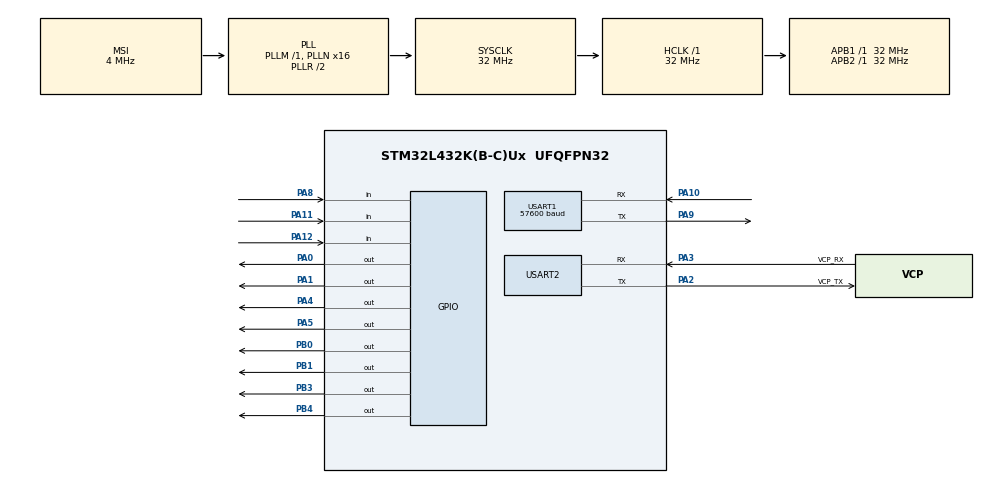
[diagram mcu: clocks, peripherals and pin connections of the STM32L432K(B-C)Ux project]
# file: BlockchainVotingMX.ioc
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Dma.Request0=USART2_RX
Dma.Request1=USART1_RX
Dma.Request2=USART1_TX
Dma.USART1_RX.1.Direction=DMA_PERIPH_TO_MEMORY
Dma.USART1_RX.1.Instance=DMA1_Channel5
Dma.USART1_RX.1.MemDataAlignment=DMA_MDATAALIGN_BYTE
Dma.USART1_RX.1.MemInc=DMA_MINC_ENABLE
Dma.USART1_RX.1.Mode=DMA_NORMAL
Dma.USART1_RX.1.PeriphDataAlignment=DMA_PDATAALIGN_BYTE
Dma.USART1_RX.1.PeriphInc=DMA_PINC_DISABLE
Dma.USART1_RX.1.Priority=DMA_PRIORITY_MEDIUM
Dma.USART1_TX.2.Direction=DMA_MEMORY_TO_PERIPH
Dma.USART1_TX.2.Instance=DMA1_Channel4
Dma.USART1_TX.2.MemDataAlignment=DMA_MDATAALIGN_BYTE
Dma.USART1_TX.2.MemInc=DMA_MINC_ENABLE
Dma.USART1_TX.2.Mode=DMA_NORMAL
Dma.USART1_TX.2.PeriphDataAlignment=DMA_PDATAALIGN_BYTE
Dma.USART1_TX.2.PeriphInc=DMA_PINC_DISABLE
Dma.USART1_TX.2.Priority=DMA_PRIORITY_MEDIUM
Dma.USART2_RX.0.Direction=DMA_PERIPH_TO_MEMORY
Dma.USART2_RX.0.Instance=DMA1_Channel6
Dma.USART2_RX.0.MemDataAlignment=DMA_MDATAALIGN_BYTE
Dma.USART2_RX.0.MemInc=DMA_MINC_ENABLE
Dma.USART2_RX.0.Mode=DMA_CIRCULAR
Dma.USART2_RX.0.PeriphDataAlignment=DMA_PDATAALIGN_BYTE
Dma.USART2_RX.0.PeriphInc=DMA_PINC_DISABLE
Dma.USART2_RX.0.Priority=DMA_PRIORITY_HIGH
Mcu.Family=STM32L4
Mcu.Name=STM32L432K(B-C)Ux
Mcu.Package=UFQFPN32
NVIC.DMA1_Channel4_IRQn=true\:0\:0\:false\:false\:true\:false\:true\:true
NVIC.DMA1_Channel5_IRQn=true\:0\:0\:false\:false\:true\:false\:true\:true
NVIC.DMA1_Channel6_IRQn=true\:0\:0\:false\:false\:true\:false\:true\:true
NVIC.PriorityGroup=NVIC_PRIORITYGROUP_4
NVIC.USART1_IRQn=true\:0\:0\:false\:false\:true\:true\:true\:true
NVIC.USART2_IRQn=true\:0\:0\:false\:false\:true\:true\:true\:true
PA0.Signal=GPIO_Output
PA1.Signal=GPIO_Output
PA10.Mode=Asynchronous
PA10.Signal=USART1_RX
PA11.GPIO_PuPd=GPIO_PULLUP
PA11.Signal=GPIO_Input
PA12.GPIO_PuPd=GPIO_PULLUP
PA12.Signal=GPIO_Input
PA13\ (JTMS-SWDIO).GPIO_Label=SWDIO
PA13\ (JTMS-SWDIO).Mode=Serial_Wire
PA13\ (JTMS-SWDIO).Signal=SYS_JTMS-SWDIO
PA14\ (JTCK-SWCLK).GPIO_Label=SWCLK
PA14\ (JTCK-SWCLK).Mode=Serial_Wire
PA14\ (JTCK-SWCLK).Signal=SYS_JTCK-SWCLK
PA2.GPIO_Label=VCP_TX
PA2.Mode=Asynchronous
PA2.Signal=USART2_TX
PA3.GPIO_Label=VCP_RX
PA3.Mode=Asynchronous
PA3.Signal=USART2_RX
PA4.Signal=GPIO_Output
PA5.Signal=GPIO_Output
PA8.GPIO_PuPd=GPIO_PULLUP
PA8.Signal=GPIO_Input
PA9.Mode=Asynchronous
PA9.Signal=USART1_TX
PB0.Signal=GPIO_Output
PB1.Signal=GPIO_Output
PB3\ (JTDO-TRACESWO).Signal=GPIO_Output
PB4\ (NJTRST).Signal=GPIO_Output
PC14-OSC32_IN\ (PC14).Mode=LSE-External-Oscillator
PC14-OSC32_IN\ (PC14).Signal=RCC_OSC32_IN
PC15-OSC32_OUT\ (PC15).Mode=LSE-External-Oscillator
PC15-OSC32_OUT\ (PC15).Signal=RCC_OSC32_OUT
ProjectManager.HeapSize=0x200
ProjectManager.StackSize=0x2000
ProjectManager.TargetToolchain=STM32CubeIDE
RCC.ADCFreq_Value=32000000
RCC.AHBFreq_Value=32000000
RCC.APB1Freq_Value=32000000
RCC.APB1TimFreq_Value=32000000
RCC.APB2Freq_Value=32000000
RCC.APB2TimFreq_Value=32000000
RCC.CortexFreq_Value=32000000
RCC.HCLKFreq_Value=32000000
RCC.HSE_VALUE=8000000
RCC.HSI16_VALUE=16000000
RCC.HSI48_VALUE=48000000
RCC.HSI_VALUE=16000000
RCC.MSI_VALUE=4000000
RCC.PLLMUL=RCC_PLLMUL_4
RCC.PLLN=16
RCC.PLLSAI1N=16
RCC.SYSCLKFreq_VALUE=32000000
RCC.SYSCLKSource=RCC_SYSCLKSOURCE_PLLCLK
RCC.USBFreq_Value=32000000
RCC.VCOOutputFreq_Value=64000000
USART1.BaudRate=57600
USART1.VirtualMode-Asynchronous=VM_ASYNC
USART2.VirtualMode-Asynchronous=VM_ASYNC
VP_RNG_VS_RNG.Mode=RNG_Activate
board=NUCLEO-L432KC

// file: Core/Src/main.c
/* USER CODE BEGIN Header */
/**
  ******************************************************************************
  * @file           : main.c
  * @brief          : E-VOTING TERMINAL - PRODUCTION READY v3.0
  * @author         : Blockchain Voting Team
  * @date           : December 2025
  * @note           : FULLY INTEGRATED WITH BACKEND + FINGERPRINT MATCHING
  ******************************************************************************
  */
/* USER CODE END Header */
#include "main.h"

/* USER CODE BEGIN Includes */
#include <stdio.h>
#include <stdarg.h>
#include <string.h>
#include <stdbool.h>
#include <ctype.h>
#include "r307.h"
#include "esp32_bridge.h"
#include "keypad.h"
#include "sha256.h"  // ✅ SHA256 for hashing

/* 🔧 WiFi & Backend Configuration */
#define WIFI_SSID       "Redmi Note 10"       // ⚠️ CHANGE THIS!
#define WIFI_PASSWORD   "123456789"               // ⚠️ CHANGE THIS!
#define BACKEND_HOST    "automatic-space-garbanzo-x5wjwqpqqjgqhv4w9-3000.app.github.dev"            // ⚠️ YOUR PC IP!
#define BACKEND_PORT    443
#define TERMINAL_ID     "TERM_001"
#define API_KEY         "voter-secret-key-456"

/* API Endpoints */
#define API_BASE        "/api/v1/terminal"
#define API_ELECTIONS   "/api/v1/terminal/elections"
#define API_VERIFY      "/api/v1/terminal/verify-identity"
#define API_SEND_OTP    "/api/v1/terminal/send-otp"
#define API_VERIFY_OTP  "/api/v1/terminal/verify-otp"
#define API_CAST_VOTE   "/api/v1/terminal/cast-vote"
#define API_GET_RECEIPT "/api/v1/terminal/receipt"
#define API_SEND_EMAIL  "/api/v1/terminal/send-receipt-email"

/* Voting Flow States */
typedef enum {
    STATE_SELECT_ELECTION = 0,
    STATE_ENTER_AADHAAR,
    STATE_ENTER_VOTER_ID,
    STATE_SCAN_FINGERPRINT,
    STATE_VERIFY_IDENTITY,
    STATE_SEND_OTP,
    STATE_ENTER_OTP,
    STATE_VERIFY_OTP,
    STATE_SELECT_CANDIDATE,
    STATE_CONFIRM_VOTE,
    STATE_CAST_VOTE,
    STATE_WAIT_RECEIPT,
    STATE_SHOW_RECEIPT,
    STATE_COMPLETE
} VotingState;

/* Election Structure */
typedef struct {
    char id[32];
    char name[64];
    char description[128];
} Election;

/* Candidate Structure */
typedef struct {
    char id[32];
    char name[64];
    char party[64];
} Candidate;

/* Voting Session */
typedef struct {
    VotingState state;

    // Election Data
    Election elections[10];
    uint8_t election_count;
    uint8_t selected_election_idx;

    // Voter Data
    char aadhaar[13];
    char voter_id[16];
    uint8_t fingerprint_template[512];

    // Backend Response Data
    char voter_name[64];
    char masked_email[64];
    char auth_token[65];
    uint16_t match_score;

    // Candidate Data
    Candidate candidates[5];
    uint8_t candidate_count;
    uint8_t selected_candidate_idx;

    // OTP Data
    char otp[7];

    // Receipt Data
    char transaction_id[128];
    char aadhaar_hash[65];

    // State Control
    bool fingerprint_matched;
    bool otp_verified;
    uint8_t retry_count;
} VotingSession;

/* USER CODE END Includes */

RNG_HandleTypeDef hrng;

UART_HandleTypeDef huart1;
UART_HandleTypeDef huart2;
DMA_HandleTypeDef hdma_usart1_rx;
DMA_HandleTypeDef hdma_usart1_tx;
DMA_HandleTypeDef hdma_usart2_rx;

/* USER CODE BEGIN PV */
R307_Handle fingerprint;
ESP32_Handle esp32;
VotingSession session;

/* Large buffers for JSON */
char json_buffer[512];
char response_buffer[512];
char debug_buffer[256];
/* USER CODE END PV */

void SystemClock_Config(void);
static void MX_GPIO_Init(void);
static void MX_DMA_Init(void);
static void MX_USART2_UART_Init(void);
static void MX_RNG_Init(void);
static void MX_USART1_UART_Init(void);
/* USER CODE BEGIN PFP */
// Utility Functions
void Debug_Printf(const char *format, ...);
void LCD_Print(const char *format, ...);
void LCD_Clear(void);
void LCD_SetCursor(uint8_t row, uint8_t col);
void Reset_Session(void);
void SHA256_Hash_Hex(const char *input, char *output_hex);

// Voting Flow Functions
void State_SelectElection(void);
void State_EnterAadhaar(void);
void State_EnterVoterID(void);
void State_ScanFingerprint(void);
void State_VerifyIdentity(void);
void State_SendOTP(void);
void State_EnterOTP(void);
void State_VerifyOTP(void);
void State_SelectCandidate(void);
void State_ConfirmVote(void);
void State_CastVote(void);
void State_WaitReceipt(void);
void State_ShowReceipt(void);

// Backend API Functions
bool Backend_GetElections(void);
bool Backend_VerifyIdentity(void);
bool Backend_SendOTP(void);
bool Backend_VerifyOTP(void);
bool Backend_GetCandidates(void);
bool Backend_CastVote(void);
bool Backend_GetReceipt(void);
bool Backend_SendReceiptEmail(void);

// UI Helper Functions
bool Get_Number_Input(char *buffer, uint8_t max_len, const char *prompt);
bool Get_String_Input(char *buffer, uint8_t max_len, const char *prompt);
uint8_t Show_Scrolling_List(const char items[][64], uint8_t count, const char *title);
void Show_Loading(const char *message);
void Show_Error(const char *message);
void Show_Success(const char *message);

/* USER CODE END PFP */

/* USER CODE BEGIN 0 */
/**
  * @brief  Debug printf via UART2
  */
void Debug_Printf(const char *format, ...)
{
    va_list args;
    va_start(args, format);
    vsnprintf(debug_buffer, sizeof(debug_buffer), format, args);
    va_end(args);
    HAL_UART_Transmit(&huart2, (uint8_t*)debug_buffer, strlen(debug_buffer), 100);
}

/**
  * @brief  Send LCD Print command
  */
void LCD_Print(const char *format, ...)
{
    char buffer[128];
    va_list args;
    va_start(args, format);
    vsnprintf(buffer, sizeof(buffer), format, args);
    va_end(args);

    char cmd[150];
    snprintf(cmd, sizeof(cmd), "LCD_PRINT,%s\n", buffer);
    HAL_UART_Transmit(&huart2, (uint8_t*)cmd, strlen(cmd), 100);
    HAL_Delay(50);
}

/**
  * @brief  Clear LCD
  */
void LCD_Clear(void)
{
    HAL_UART_Transmit(&huart2, (uint8_t*)"LCD_CLEAR\n", 10, 100);
    HAL_Delay(50);
}

/**
  * @brief  Set LCD cursor position
  */
void LCD_SetCursor(uint8_t row, uint8_t col)
{
    char cmd[32];
    snprintf(cmd, sizeof(cmd), "LCD_CURSOR,%d,%d\n", row, col);
    HAL_UART_Transmit(&huart2, (uint8_t*)cmd, strlen(cmd), 100);
    HAL_Delay(30);
}

/**
  * @brief  SHA256 hash to hex string
  */
void SHA256_Hash_Hex(const char *input, char *output_hex)
{
    BYTE hash[SHA256_BLOCK_SIZE];
    sha256_hash((const BYTE*)input, strlen(input), hash);

    // Convert to hex string
    for (int i = 0; i < SHA256_BLOCK_SIZE; i++) {
        sprintf(&output_hex[i * 2], "%02x", hash[i]);
    }
    output_hex[64] = '\0';
}

/**
  * @brief  Reset voting session
  */
void Reset_Session(void)
{
    memset(&session, 0, sizeof(VotingSession));
    session.state = STATE_SELECT_ELECTION;
    session.retry_count = 0;

    Debug_Printf("\r\n🔄 Session Reset\r\n\r\n");
}

/**
  * @brief  Get number input from keypad
  */
bool Get_Number_Input(char *buffer, uint8_t max_len, const char *prompt)
{
    LCD_Clear();
    LCD_SetCursor(0, 0);
    LCD_Print(prompt);
    LCD_SetCursor(1, 0);

    uint8_t pos = 0;
    char display[17] = {0};

    while (1) {
        char key = Keypad_GetKey();
        if (key != '\0') {
            Debug_Printf("Key: %c\r\n", key);

            if (key == '#') {
                // Confirm
                if (pos == max_len) {
                    buffer[pos] = '\0';
                    return true;
                } else {
                    Show_Error("Invalid length!");
                    return false;
                }
            } else if (key == '*') {
                // Backspace
                if (pos > 0) {
                    pos--;
                    display[pos] = '_';
                    buffer[pos] = '\0';
                    LCD_SetCursor(1, 0);
                    LCD_Print(display);
                }
            } else if (key >= '0' && key <= '9') {
                // Add digit
                if (pos < max_len) {
                    buffer[pos] = key;
                    display[pos] = key;
                    pos++;
                    LCD_SetCursor(1, 0);
                    LCD_Print(display);
                }
            }
        }
        HAL_Delay(100);
    }
}

/**
  * @brief  Get alphanumeric string input
  */
bool Get_String_Input(char *buffer, uint8_t max_len, const char *prompt)
{
    LCD_Clear();
    LCD_SetCursor(0, 0);
    LCD_Print(prompt);
    LCD_SetCursor(1, 0);

    uint8_t pos = 0;

    while (1) {
        char key = Keypad_GetKey();
        if (key != '\0') {
            if (key == '#') {
                // Confirm
                buffer[pos] = '\0';
                return (pos > 0);
            } else if (key == '*') {
                // Backspace
                if (pos > 0) {
                    pos--;
                    buffer[pos] = '\0';
                    LCD_SetCursor(1, 0);
                    LCD_Print("                ");
                    LCD_SetCursor(1, 0);
                    LCD_Print(buffer);
                }
            } else if (pos < max_len) {
                // Add character
                buffer[pos++] = key;
                LCD_SetCursor(1, 0);
                LCD_Print(buffer);
            }
        }
        HAL_Delay(100);
    }
}

/**
  * @brief  Show scrolling list (2=DOWN, 8=UP, #=SELECT, *=BACK)
  */
uint8_t Show_Scrolling_List(const char items[][64], uint8_t count, const char *title)
{
    uint8_t selected = 0;

    while (1) {
        LCD_Clear();
        LCD_SetCursor(0, 0);
        LCD_Print(title);

        // Show current item (truncate to 16 chars)
        char display[17];
        snprintf(display, 17, "%d.%s", selected + 1, items[selected]);
        LCD_SetCursor(1, 0);
        LCD_Print(display);

        Debug_Printf("Showing: [%d/%d] %s\r\n", selected + 1, count, items[selected]);

        char key = '\0';
        while (key == '\0') {
            key = Keypad_GetKey();
            HAL_Delay(50);
        }

        Debug_Printf("Key: %c\r\n", key);

        if (key == '2') {
            // DOWN
            selected = (selected + 1) % count;
        } else if (key == '8') {
            // UP
            selected = (selected == 0) ? count - 1 : selected - 1;
        } else if (key == '#') {
            // SELECT
            return selected;
        } else if (key == '*') {
            // BACK
            return 255;  // Signal to go back
        }
    }
}

/**
 * @brief HAL UART RX Complete Callback - Routes ESP32 data
 */
void HAL_UART_RxCpltCallback(UART_HandleTypeDef *huart) {
    if (huart->Instance == USART2) {
        // ✅ Pass received byte to ESP32 handler
        extern uint8_t uart_rx_byte;
        extern ESP32_Handle esp32;

        ESP32_UART_RxCallback(&esp32, uart_rx_byte);

        // ✅ Restart reception for next byte
        HAL_UART_Receive_IT(&huart2, &uart_rx_byte, 1);
    }
    else if (huart->Instance == USART1) {
        // R307 handling (if you have any)
    }
}

/**
  * @brief  Show loading screen
  */
void Show_Loading(const char *message)
{
    LCD_Clear();
    LCD_SetCursor(0, 0);
    LCD_Print("Loading...");
    LCD_SetCursor(1, 0);
    LCD_Print(message);
    Debug_Printf("⏳ %s\r\n", message);
}

/**
  * @brief  Show error message
  */
void Show_Error(const char *message)
{
    LCD_Clear();
    LCD_SetCursor(0, 0);
    LCD_Print("ERROR!");
    LCD_SetCursor(1, 0);
    LCD_Print(message);
    Debug_Printf("❌ ERROR: %s\r\n", message);
    HAL_Delay(3000);
}

/**
  * @brief  Show success message
  */
void Show_Success(const char *message)
{
    LCD_Clear();
    LCD_SetCursor(0, 0);
    LCD_Print("SUCCESS!");
    LCD_SetCursor(1, 0);
    LCD_Print(message);
    Debug_Printf("✅ SUCCESS: %s\r\n", message);
    ESP32_LED_Blink(&esp32, 3);
    HAL_Delay(2000);
}

/* ========================================================================== */
/* VOTING STATE MACHINE                                                        */
/* ========================================================================== */

/**
  * @brief  STATE 1: Select Election
  */
void State_SelectElection(void)
{
    Debug_Printf("\r\n══════════════════════════════════════\r\n");
    Debug_Printf("       STEP 1: SELECT ELECTION        \r\n");
    Debug_Printf("══════════════════════════════════════\r\n");

    Show_Loading("Fetching...");

    if (!Backend_GetElections()) {
        Show_Error("Backend Failed!");
        HAL_Delay(2000);
        return;
    }

    if (session.election_count == 0) {
        Show_Error("No Elections!");
        HAL_Delay(2000);
        return;
    }

    // Prepare election list for scrolling
    static char election_names[10][64];
    for (uint8_t i = 0; i < session.election_count; i++) {
        strncpy(election_names[i], session.elections[i].name, 63);
    }

    uint8_t result = Show_Scrolling_List(election_names, session.election_count, "Select Election:");

    if (result == 255) {
        // User pressed * to go back - reset
        Reset_Session();
        return;
    }

    session.selected_election_idx = result;
    Debug_Printf("✅ Selected: %s\r\n", session.elections[result].name);
    /* Move to next state */
    session.state = STATE_ENTER_AADHAAR;
}

/**
  * @brief  STATE 2: Enter Aadhaar Number (12 digits)
  */
void State_EnterAadhaar(void)
{
	Debug_Printf("═══════════════════════════\r\n");
	Debug_Printf("STEP 2: ENTER AADHAAR\r\n");
	Debug_Printf("═══════════════════════════\r\n");
    HAL_UART_Transmit(&huart2, (uint8_t*)"💬 [STM32] 🔹 Calling GetNumberInput...\r\n", 50, 100);
    if (Get_Number_Input(session.aadhaar, 12, "Enter Aadhaar:")) {
        Debug_Printf("✅ Aadhaar: %s\r\n", session.aadhaar);
        session.state = STATE_ENTER_VOTER_ID;
    } else {
        Show_Error("Invalid Aadhaar!");
    }
}

/**
  * @brief  STATE 3: Enter Voter ID
  */
void State_EnterVoterID(void)
{
    Debug_Printf("\r\n══════════════════════════════════════\r\n");
    Debug_Printf("       STEP 3: ENTER VOTER ID         \r\n");
    Debug_Printf("══════════════════════════════════════\r\n");

    if (Get_String_Input(session.voter_id, 15, "Enter Voter ID:")) {
        Debug_Printf("✅ Voter ID: %s\r\n", session.voter_id);
        session.state = STATE_SCAN_FINGERPRINT;
    } else {
        Show_Error("Invalid ID!");
    }
}

/**
  * @brief  STATE 4: Scan Fingerprint
  */
void State_ScanFingerprint(void)
{
    Debug_Printf("\r\n══════════════════════════════════════\r\n");
    Debug_Printf("       STEP 4: SCAN FINGERPRINT       \r\n");
    Debug_Printf("══════════════════════════════════════\r\n");

    LCD_Clear();
    LCD_SetCursor(0, 0);
    LCD_Print("Place Finger");
    LCD_SetCursor(1, 0);
    LCD_Print("On Scanner...");

    HAL_Delay(2000);

    // Capture fingerprint
    if (!R307_GetImage(&fingerprint)) {
        Show_Error("No Finger!");
        session.retry_count++;
        if (session.retry_count > 3) {
            Reset_Session();
        }
        return;
    }

    Debug_Printf("✅ Image Captured\r\n");

    // Convert to template
    if (!R307_Image2Tz(&fingerprint, R307_BUFFER_1)) {
        Show_Error("Template Fail!");
        return;
    }

    Debug_Printf("✅ Template Generated\r\n");

    // Upload template to MCU
    LCD_SetCursor(1, 0);
    LCD_Print("Processing...  ");

    if (!R307_UploadTemplate(&fingerprint, R307_BUFFER_1, session.fingerprint_template)) {
        Show_Error("Upload Failed!");
        return;
    }

    Debug_Printf("✅ Template Uploaded (512 bytes)\r\n");
    Show_Success("Scanned!");

    session.state = STATE_VERIFY_IDENTITY;
}

void State_VerifyIdentity(void)
{
    Debug_Printf("\r\n══════════════════════════════════════\r\n");
    Debug_Printf("  STEP 5: VERIFY IDENTITY  \r\n");
    Debug_Printf("══════════════════════════════════════\r\n");

    Show_Loading("Verifying...");

    // Use backend upload method instead of DownChar
    if (Backend_VerifyIdentity()) {
        Debug_Printf("✅ Identity Verified!\r\n");
        Debug_Printf("   Name: %s\r\n", session.voter_name);
        Debug_Printf("   Match Score: %d%%\r\n", session.match_score);

        Show_Success("Identity OK!");
        session.state = STATE_SEND_OTP;
    } else {
        Show_Error("Verify Failed!");
        session.retry_count++;

        if (session.retry_count > 3) {
            Reset_Session();
        } else {
            session.state = STATE_SCAN_FINGERPRINT;
        }
    }
}

/**
  * @brief  STATE 6: Send OTP
  */
void State_SendOTP(void)
{
    Debug_Printf("\r\n══════════════════════════════════════\r\n");
    Debug_Printf("       STEP 6: SEND OTP               \r\n");
    Debug_Printf("══════════════════════════════════════\r\n");

    Show_Loading("Sending OTP...");

    if (Backend_SendOTP()) {
        LCD_Clear();
        LCD_SetCursor(0, 0);
        LCD_Print("OTP Sent!");
        LCD_SetCursor(1, 0);
        LCD_Print(session.masked_email);

        Debug_Printf("✅ OTP sent to: %s\r\n", session.masked_email);
        HAL_Delay(2000);

        session.state = STATE_ENTER_OTP;
    } else {
        Show_Error("OTP Send Failed!");
    }
}

/**
  * @brief  STATE 7: Enter OTP
  */
void State_EnterOTP(void)
{
    Debug_Printf("\r\n══════════════════════════════════════\r\n");
    Debug_Printf("       STEP 7: ENTER OTP              \r\n");
    Debug_Printf("══════════════════════════════════════\r\n");

    if (Get_Number_Input(session.otp, 6, "Enter 6-Dig OTP:")) {
        Debug_Printf("OTP Entered: %s\r\n", session.otp);
        session.state = STATE_VERIFY_OTP;
    } else {
        Show_Error("Invalid OTP!");
    }
}

/**
 * @brief STATE 8: Verify OTP
 */
void State_VerifyOTP(void)
{
    Debug_Printf("\r\n══════════════════════════════════════\r\n");
    Debug_Printf("  STEP 8: VERIFY OTP  \r\n");
    Debug_Printf("══════════════════════════════════════\r\n");

    Show_Loading("Verifying...");

    if (Backend_VerifyOTP()) {
        Debug_Printf("✅ OTP Verified!\r\n");
        Debug_Printf("   Auth Token: %.16s...\r\n", session.auth_token);

        Show_Success("OTP Correct!");

        // ✅ IMPROVED: Fetch candidates from backend
        Debug_Printf("📋 Fetching candidates...\r\n");
        Show_Loading("Loading...");

        if (Backend_GetCandidates()) {
            Debug_Printf("✅ Got %d candidates:\r\n", session.candidate_count);

            // ✅ NEW: Display parsed candidates for verification
            for (uint8_t i = 0; i < session.candidate_count; i++) {
                Debug_Printf("   [%d] %s (%s)\r\n",
                            i + 1,
                            session.candidates[i].name,
                            session.candidates[i].party);
            }

            session.state = STATE_SELECT_CANDIDATE;
        } else {
            Show_Error("No Candidates!");
            Debug_Printf("❌ Failed to fetch candidates\r\n");
            HAL_Delay(2000);
            Reset_Session();
        }
    } else {
        Show_Error("Wrong OTP!");
        session.retry_count++;

        if (session.retry_count > 3) {
            Reset_Session();
        } else {
            session.state = STATE_ENTER_OTP;
        }
    }
}

/**
 * @brief STATE 9: Select Candidate
 */
void State_SelectCandidate(void)
{
    Debug_Printf("\r\n══════════════════════════════════════\r\n");
    Debug_Printf("  STEP 9: SELECT CANDIDATE  \r\n");
    Debug_Printf("══════════════════════════════════════\r\n");

    // ✅ FIX: Declare as non-static and initialize with zeros
    char candidate_names[10][64];
    memset(candidate_names, 0, sizeof(candidate_names));

    // Build display strings (Name - Party)
    for (uint8_t i = 0; i < session.candidate_count && i < 10; i++) {
        snprintf(candidate_names[i], 64, "%s - %s",
                 session.candidates[i].name,
                 session.candidates[i].party);

        Debug_Printf("  Display[%d]: %s\r\n", i, candidate_names[i]);
    }

    uint8_t result = Show_Scrolling_List(candidate_names, session.candidate_count, "Vote For:");

    if (result == 255) {
        // Back pressed
        Debug_Printf("❌ User went back\r\n");
        session.state = STATE_ENTER_OTP;
        return;
    }

    session.selected_candidate_idx = result;
    Debug_Printf("✅ Selected: %s\r\n", session.candidates[result].name);

    session.state = STATE_CONFIRM_VOTE;
}

/**
 * @brief Upload scanned fingerprint template to backend for matching (CHUNKED)
 * @retval true if match found
 */
bool Backend_VerifyIdentity(void)
{
    static HTTP_Response response;

    Debug_Printf("\r\n══════════════════════════════════════\r\n");
    Debug_Printf("  BACKEND TEMPLATE MATCHING  \r\n");
    Debug_Printf("══════════════════════════════════════\r\n");

    // Convert scanned template to hex string
    char template_hex[1025];
    for (int i = 0; i < 512; i++) {
        sprintf(&template_hex[i * 2], "%02X", session.fingerprint_template[i]);
    }
    template_hex[1024] = '\0';

    Debug_Printf("✅ Template converted to hex\r\n");

    // Generate unique chunk ID
    char chunk_id[64];
    sprintf(chunk_id, "%s_%s_%lu", session.aadhaar, session.voter_id, HAL_GetTick());

    // Upload in 4 chunks (256 chars each = 128 bytes)
    Debug_Printf("📤 Uploading template in 4 chunks...\r\n");

    for (int chunk = 0; chunk < 4; chunk++) {
        // Build JSON for this chunk
        snprintf(json_buffer, sizeof(json_buffer),
                 "{\"aadhaar\":\"%s\",\"voterId\":\"%s\",\"chunkId\":\"%s\",\"chunkNum\":%d,\"chunkData\":\"%.256s\"}",
                 session.aadhaar,
                 session.voter_id,
                 chunk_id,
                 chunk,
                 &template_hex[chunk * 256]);

        Debug_Printf("  Chunk %d/4... (%d bytes)\r\n", chunk + 1, strlen(json_buffer));

        if (!ESP32_HTTP_POST(&esp32, BACKEND_HOST, BACKEND_PORT,
                             "/api/v1/terminal/upload-template-chunk",
                             json_buffer, &response)) {
            Debug_Printf("❌ Chunk %d upload failed!\r\n", chunk + 1);
            return false;
        }

        if (!response.success) {
            Debug_Printf("❌ Chunk %d rejected!\r\n", chunk + 1);
            return false;
        }

        HAL_Delay(100);
    }

    Debug_Printf("✅ All chunks uploaded!\r\n");

    // Request backend to match
    snprintf(json_buffer, sizeof(json_buffer),
             "{\"aadhaar\":\"%s\",\"voterId\":\"%s\",\"chunkId\":\"%s\"}",
             session.aadhaar, session.voter_id, chunk_id);

    Debug_Printf("🔍 Requesting backend matching...\r\n");

    if (!ESP32_HTTP_POST(&esp32, BACKEND_HOST, BACKEND_PORT,
                         "/api/v1/terminal/match-fingerprint",
                         json_buffer, &response)) {
        Debug_Printf("❌ Match request failed!\r\n");
        return false;
    }

    if (!response.success) {
        Debug_Printf("❌ HTTP %d\r\n", response.status_code);
        return false;
    }

    // Parse match result
    char *matched_marker = strstr(response.body, "\"matched\":");
    if (!matched_marker) {
        Debug_Printf("❌ Invalid response\r\n");
        return false;
    }

    bool matched = (strstr(matched_marker, "true") != NULL);

    if (!matched) {
        Debug_Printf("❌ No match found\r\n");
        return false;
    }

    // Extract match score
    char *score_marker = strstr(response.body, "\"score\":");
    if (score_marker) {
        score_marker += 8;
        session.match_score = (uint16_t)atoi(score_marker);
        Debug_Printf("📊 Match Score: %d%%\r\n", session.match_score);
    }

    // Extract voter info
    char *name_marker = strstr(response.body, "\"name\":\"");
    if (name_marker) {
        name_marker += 8;
        char *name_end = strchr(name_marker, '\"');
        if (name_end) {
            size_t name_len = name_end - name_marker;
            if (name_len < sizeof(session.voter_name)) {
                strncpy(session.voter_name, name_marker, name_len);
                session.voter_name[name_len] = '\0';
            }
        }
    }

    Debug_Printf("✅ MATCH FOUND!\r\n");
    Debug_Printf("   Name: %s\r\n", session.voter_name);

    session.fingerprint_matched = true;
    return true;
}

/**
 * @brief Fetch candidates for selected election
 * Handles BOTH string arrays and object arrays
 */
bool Backend_GetCandidates(void)
{
    static HTTP_Response response;

    snprintf(json_buffer, sizeof(json_buffer),
             "{\"electionId\":\"%s\",\"authToken\":\"%s\"}",
             session.elections[session.selected_election_idx].id,
             session.auth_token);

    Debug_Printf("📡 POST /api/v1/terminal/get-candidates\r\n");

    if (!ESP32_HTTP_POST(&esp32, BACKEND_HOST, BACKEND_PORT,
                         "/api/v1/terminal/get-candidates",
                         json_buffer, &response)) {
        Debug_Printf("❌ HTTP POST failed!\r\n");
        return false;
    }

    if (!response.success) {
        Debug_Printf("❌ HTTP %d\r\n", response.status_code);
        return false;
    }

    Debug_Printf("📥 Response (%d bytes): %s\r\n", strlen(response.body), response.body);

    // ✅ RESET: Clear candidate array first
    memset(session.candidates, 0, sizeof(session.candidates));
    session.candidate_count = 0;

    // Find the "data" array
    char *data_array = strstr(response.body, "\"data\":[");
    if (!data_array) {
        Debug_Printf("❌ No 'data' array found\r\n");
        return false;
    }

    char *search_pos = data_array + 8; // Skip past '"data":['
    Debug_Printf("🔍 Starting parse...\r\n");

    // Parse each candidate object (max 10)
    while (session.candidate_count < 10 && *search_pos != '\0') {

        // Look for opening brace of next object
        char *obj_start = strchr(search_pos, '{');
        if (!obj_start || (obj_start - search_pos) > 50) {
            Debug_Printf("⏹ No more candidates (count: %d)\r\n", session.candidate_count);
            break;
        }

        search_pos = obj_start + 1; // Move past '{'

        // ✅ NEW: Look for "id" field (REQUIRED)
        char *id_marker = strstr(search_pos, "\"id\":\"");
        if (!id_marker || (id_marker - search_pos) > 200) {
            // Skip this object if no id found
            char *closing = strchr(search_pos, '}');
            if (closing) {
                search_pos = closing + 1;
            }
            continue;
        }

        // Extract ID
        char *id_start = id_marker + 6;
        char *id_end = strchr(id_start, '\"');
        if (id_end && (id_end - id_start) > 0 && (id_end - id_start) < 32) {
            strncpy(session.candidates[session.candidate_count].id, id_start, id_end - id_start);
            session.candidates[session.candidate_count].id[id_end - id_start] = '\0';
        } else {
            // Skip if ID extraction failed
            search_pos = id_end ? id_end : search_pos + 50;
            continue;
        }

        // ✅ NEW: Look for "name" field (REQUIRED)
        char *name_marker = strstr(id_end, "\"name\":\"");
        if (!name_marker || (name_marker - id_end) > 100) {
            Debug_Printf("⚠️ No 'name' in object, skipping\r\n");
            search_pos = strchr(id_end, '}');
            if (search_pos) search_pos++;
            continue;
        }

        // Extract Name
        char *name_start = name_marker + 8;
        char *name_end = strchr(name_start, '\"');
        if (name_end && (name_end - name_start) > 0 && (name_end - name_start) < 64) {
            strncpy(session.candidates[session.candidate_count].name, name_start, name_end - name_start);
            session.candidates[session.candidate_count].name[name_end - name_start] = '\0';
        } else {
            strcpy(session.candidates[session.candidate_count].name, "Unknown");
        }

        // Extract Party (OPTIONAL)
        char *party_marker = strstr(name_end, "\"party\":\"");
        if (party_marker && (party_marker - name_end) < 100) {
            char *party_start = party_marker + 9;
            char *party_end = strchr(party_start, '\"');
            if (party_end && (party_end - party_start) < 64) {
                strncpy(session.candidates[session.candidate_count].party, party_start, party_end - party_start);
                session.candidates[session.candidate_count].party[party_end - party_start] = '\0';
                search_pos = party_end;
            } else {
                strcpy(session.candidates[session.candidate_count].party, "Independent");
                search_pos = name_end;
            }
        } else {
            strcpy(session.candidates[session.candidate_count].party, "Independent");
            search_pos = name_end;
        }

        Debug_Printf("  ✅ [%d] ID: %s | Name: %s | Party: %s\r\n",
                     session.candidate_count + 1,
                     session.candidates[session.candidate_count].id,
                     session.candidates[session.candidate_count].name,
                     session.candidates[session.candidate_count].party);

        session.candidate_count++;

        // Move to next object
        char *closing_brace = strchr(search_pos, '}');
        if (closing_brace) {
            search_pos = closing_brace + 1;
        } else {
            break;
        }
    }

    if (session.candidate_count == 0) {
        Debug_Printf("❌ No candidates parsed\r\n");
        return false;
    }

    Debug_Printf("✅ Parsed %d candidates successfully\r\n", session.candidate_count);
    return true;
}

/**
  * @brief  STATE 10: Confirm Vote
  */
void State_ConfirmVote(void)
{
    Debug_Printf("\r\n══════════════════════════════════════\r\n");
    Debug_Printf("       STEP 10: CONFIRM VOTE          \r\n");
    Debug_Printf("══════════════════════════════════════\r\n");

    LCD_Clear();
    LCD_SetCursor(0, 0);
    LCD_Print("Confirm Vote?");

    char display[17];
    snprintf(display, 17, "%s", session.candidates[session.selected_candidate_idx].name);
    LCD_SetCursor(1, 0);
    LCD_Print(display);

    Debug_Printf("Press # to confirm, * to cancel\r\n");

    char key = '\0';
    while (key == '\0') {
        key = Keypad_GetKey();
        HAL_Delay(100);
    }

    if (key == '#') {
        Debug_Printf("✅ Vote Confirmed!\r\n");
        session.state = STATE_CAST_VOTE;
    } else if (key == '*') {
        Debug_Printf("Vote Cancelled\r\n");
        session.state = STATE_SELECT_CANDIDATE;
    }
}

/**
  * @brief  STATE 11: Cast Vote
  */
void State_CastVote(void)
{
    Debug_Printf("\r\n══════════════════════════════════════\r\n");
    Debug_Printf("       STEP 11: CASTING VOTE          \r\n");
    Debug_Printf("══════════════════════════════════════\r\n");

    Show_Loading("Casting Vote...");

    if (Backend_CastVote()) {
        Debug_Printf("✅ Vote Cast Successfully!\r\n");
        Show_Success("Vote Cast!");
        session.state = STATE_WAIT_RECEIPT;
    } else {
        Show_Error("Vote Failed!");
        HAL_Delay(2000);
        Reset_Session();
    }
}

/**
  * @brief  STATE 12: Wait for Receipt
  */
void State_WaitReceipt(void)
{
    Debug_Printf("\r\n══════════════════════════════════════\r\n");
    Debug_Printf("       STEP 12: WAITING RECEIPT       \r\n");
    Debug_Printf("══════════════════════════════════════\r\n");

    Show_Loading("Processing...");

    uint8_t attempts = 0;
    while (attempts < 10) {
        HAL_Delay(3000);  // Wait 3 seconds between polls

        if (Backend_GetReceipt()) {
            Debug_Printf("✅ Receipt Ready!\r\n");
            Debug_Printf("   TX ID: %s\r\n", session.transaction_id);

            session.state = STATE_SHOW_RECEIPT;
            return;
        }

        attempts++;
        Debug_Printf("Still processing... (%d/10)\r\n", attempts);
    }

    Show_Error("Receipt Timeout");
    session.state = STATE_COMPLETE;
}

/**
  * @brief  STATE 13: Show Receipt
  */
void State_ShowReceipt(void)
{
    Debug_Printf("\r\n══════════════════════════════════════\r\n");
    Debug_Printf("       STEP 13: SHOW RECEIPT          \r\n");
    Debug_Printf("══════════════════════════════════════\r\n");

    LCD_Clear();
    LCD_SetCursor(0, 0);
    LCD_Print("Vote Recorded!");
    LCD_SetCursor(1, 0);
    LCD_Print("Sending Email...");

    // Send receipt email
    if (Backend_SendReceiptEmail()) {
        Debug_Printf("✅ Receipt emailed!\r\n");

        LCD_SetCursor(1, 0);
        LCD_Print("Check Your Email");
    } else {
        Debug_Printf("⚠️ Email failed (receipt saved)\r\n");
        LCD_SetCursor(1, 0);
        LCD_Print("Email Failed   ");
    }

    HAL_Delay(3000);

    LCD_Clear();
    LCD_SetCursor(0, 0);
    LCD_Print("Thank You!");
    LCD_SetCursor(1, 0);
    LCD_Print("for Voting");

    Debug_Printf("\r\n🎉 VOTING COMPLETE!\r\n\r\n");
    ESP32_LED_Blink(&esp32, 5);
    HAL_Delay(3000);

    session.state = STATE_COMPLETE;
}

/* ========================================================================== */
/* BACKEND API FUNCTIONS                                                       */
/* ========================================================================== */

/**
  * @brief  Fetch active elections from backend
  */
/**
 * @brief Fetch active elections from backend
 */
/**
 * @brief Fetch active elections from backend
 */
bool Backend_GetElections(void)
{
    static HTTP_Response response;
    Debug_Printf("📡 GET %s\r\n", API_ELECTIONS);

    if (!ESP32_HTTP_GET(&esp32, BACKEND_HOST, BACKEND_PORT, API_ELECTIONS, &response)) {
        Debug_Printf("❌ HTTP GET Failed!\r\n");
        return false;
    }

    if (!response.success) {
        Debug_Printf("❌ HTTP %d\r\n", response.status_code);
        return false;
    }

    Debug_Printf("📥 Response: %s\r\n", response.body);

    // ✅ SIMPLE PARSER: Just extract election objects one by one
    // Format: {"success":true,"data":[{...},{...}]}

    session.election_count = 0;
    char *search_pos = response.body;

    // Find each election object in the data array
    while (session.election_count < 10) {
        // Look for "id":" pattern (start of each election)
        char *id_marker = strstr(search_pos, "\"id\":\"");
        if (!id_marker) break; // No more elections

        // Make sure this "id" is inside the data array (not success field)
        char *data_array = strstr(response.body, "\"data\":[");
        if (!data_array || id_marker < data_array) break;

        // Extract ID
        char *id_start = id_marker + 6; // Skip past "id":"
        char *id_end = strchr(id_start, '"');
        if (id_end) {
            size_t id_len = id_end - id_start;
            if (id_len < sizeof(session.elections[0].id)) {
                strncpy(session.elections[session.election_count].id, id_start, id_len);
                session.elections[session.election_count].id[id_len] = '\0';
            }
        }

        // Extract Title (look for "title":" after current position)
        char *title_marker = strstr(id_end, "\"title\":\"");
        if (title_marker && (title_marker - id_end) < 50) { // Make sure it's in same object
            char *title_start = title_marker + 9; // Skip past "title":"
            char *title_end = strchr(title_start, '"');
            if (title_end) {
                size_t title_len = title_end - title_start;
                if (title_len < sizeof(session.elections[0].name)) {
                    strncpy(session.elections[session.election_count].name, title_start, title_len);
                    session.elections[session.election_count].name[title_len] = '\0';
                }
            }

            Debug_Printf("  ✅ Election %d:\r\n", session.election_count + 1);
            Debug_Printf("     ID: %s\r\n", session.elections[session.election_count].id);
            Debug_Printf("     Name: %s\r\n", session.elections[session.election_count].name);

            session.election_count++;

            // Move search position past this election
            search_pos = title_end;
        } else {
            // No title found for this ID, skip it
            search_pos = id_end;
        }
    }

    if (session.election_count == 0) {
        Debug_Printf("❌ No elections parsed\r\n");
        return false;
    }

    Debug_Printf("✅ Total elections parsed: %d\r\n", session.election_count);
    return true;
}

/**
 * @brief Compare two fingerprint templates using Hamming Distance
 * @param template1: First 512-byte template
 * @param template2: Second 512-byte template
 * @retval Similarity score (0-100, higher = better match)
 */
uint8_t Compare_Fingerprint_Templates(uint8_t *template1, uint8_t *template2) {
    uint32_t matching_bytes = 0;
    uint32_t total_significant_bytes = 0;

    // Compare byte-by-byte
    for (int i = 0; i < 512; i++) {
        // Skip "empty" bytes (0x00 or 0xFF padding)
        if ((template1[i] == 0x00 && template2[i] == 0x00) ||
            (template1[i] == 0xFF && template2[i] == 0xFF)) {
            continue; // Ignore padding
        }

        total_significant_bytes++;

        // Calculate bit-level similarity
        uint8_t xor_result = template1[i] ^ template2[i];
        uint8_t bit_differences = 0;

        // Count differing bits
        for (int bit = 0; bit < 8; bit++) {
            if (xor_result & (1 << bit)) {
                bit_differences++;
            }
        }

        // If fewer than 3 bits differ, count as matching
        if (bit_differences <= 2) {
            matching_bytes++;
        }
    }

    // Calculate percentage similarity
    if (total_significant_bytes == 0) {
        return 0; // Invalid templates
    }

    uint8_t similarity = (matching_bytes * 100) / total_significant_bytes;
    return similarity;
}

/**
  * @brief  Send OTP to voter's email
  */
bool Backend_SendOTP(void)
{
    HTTP_Response response;

    snprintf(json_buffer, sizeof(json_buffer),
             "{\"aadhaar\":\"%s\",\"voterId\":\"%s\"}",
             session.aadhaar, session.voter_id);

    Debug_Printf("📡 POST %s\r\n", API_SEND_OTP);

    if (!ESP32_HTTP_POST(&esp32, BACKEND_HOST, BACKEND_PORT, API_SEND_OTP, json_buffer, &response)) {
        return false;
    }

    return response.success;
}

/**
  * @brief  Verify OTP and get auth token
  */
bool Backend_VerifyOTP(void)
{
    HTTP_Response response;

    snprintf(json_buffer, sizeof(json_buffer),
             "{\"aadhaar\":\"%s\",\"voterId\":\"%s\",\"otp\":\"%s\"}",
             session.aadhaar, session.voter_id, session.otp);

    Debug_Printf("📡 POST %s\r\n", API_VERIFY_OTP);

    if (!ESP32_HTTP_POST(&esp32, BACKEND_HOST, BACKEND_PORT, API_VERIFY_OTP, json_buffer, &response)) {
        return false;
    }

    if (!response.success) {
        return false;
    }

    // Extract auth token and stored template
    if (JSON_GetString(response.body, "authToken", session.auth_token, sizeof(session.auth_token))) {
        return true;
    }
    return false;
}

/**
  * @brief  Cast vote
  */
bool Backend_CastVote(void)
{
    HTTP_Response response;

    char temp_fp_hex[1025];
    for (int i = 0; i < 512; i++) {
        sprintf(&temp_fp_hex[i * 2], "%02X", session.fingerprint_template[i]);
    }
    temp_fp_hex[1024] = '\0';

    // Create fingerprint match hash
    SHA256_Hash_Hex(temp_fp_hex, session.aadhaar_hash);
    snprintf(json_buffer, sizeof(json_buffer),
             "{\"authToken\":\"%s\",\"electionId\":\"%s\",\"candidateId\":\"%s\",\"fingerprintMatchHash\":\"%s\"}",
             session.auth_token,
             session.elections[session.selected_election_idx].id,
             session.candidates[session.selected_candidate_idx].id,
             session.aadhaar_hash);

    Debug_Printf("📡 POST %s\r\n", API_CAST_VOTE);

    if (!ESP32_HTTP_POST(&esp32, BACKEND_HOST, BACKEND_PORT, API_CAST_VOTE, json_buffer, &response)) {
        return false;
    }

    return response.success;
}

/**
 * @brief Get receipt (poll endpoint)
 */
bool Backend_GetReceipt(void)
{
    static HTTP_Response response;

    char path[256];
    snprintf(path, sizeof(path), "%s/%s/%s",
             API_GET_RECEIPT,
             session.elections[session.selected_election_idx].id,
             session.aadhaar_hash);

    Debug_Printf("📡 GET %s\r\n", path);

    if (!ESP32_HTTP_GET(&esp32, BACKEND_HOST, BACKEND_PORT, path, &response)) {
        return false;
    }

    if (!response.success) {
        return false;
    }

    Debug_Printf("📥 Receipt response: %s\r\n", response.body);

    // ✅ FIX: Check for "processing":false or "processing":true
    char *processing_marker = strstr(response.body, "\"processing\":");
    if (processing_marker) {
        processing_marker += 13; // Skip past '"processing":'

        // Skip whitespace
        while (*processing_marker == ' ') processing_marker++;

        // Check if it's "false" (receipt ready)
        if (strncmp(processing_marker, "false", 5) == 0) {
            Debug_Printf("✅ Receipt ready!\r\n");

            // Extract transaction ID
            char *txid_marker = strstr(response.body, "\"txId\":\"");
            if (txid_marker) {
                txid_marker += 8; // Skip past '"txId":"'
                char *txid_end = strchr(txid_marker, '\"');

                if (txid_end) {
                    size_t txid_len = txid_end - txid_marker;
                    if (txid_len < sizeof(session.transaction_id)) {
                        strncpy(session.transaction_id, txid_marker, txid_len);
                        session.transaction_id[txid_len] = '\0';

                        Debug_Printf("📜 TX ID: %s\r\n", session.transaction_id);
                        return true;
                    }
                }
            }

            // If we got here, processing is false but no txId (shouldn't happen)
            Debug_Printf("⚠️ Processing complete but no transaction ID found\r\n");
            return false;

        } else if (strncmp(processing_marker, "true", 4) == 0) {
            Debug_Printf("⏳ Still processing on blockchain...\r\n");
            return false;
        }
    }

    Debug_Printf("⚠️ Could not parse processing status\r\n");
    return false;
}

/**
  * @brief  Send receipt via email
  */
bool Backend_SendReceiptEmail(void)
{
    HTTP_Response response;

    snprintf(json_buffer, sizeof(json_buffer),
             "{\"aadhaar\":\"%s\",\"voterId\":\"%s\",\"transactionId\":\"%s\",\"electionId\":\"%s\"}",
             session.aadhaar, session.voter_id, session.transaction_id,
             session.elections[session.selected_election_idx].id);

    Debug_Printf("📡 POST %s\r\n", API_SEND_EMAIL);

    if (!ESP32_HTTP_POST(&esp32, BACKEND_HOST, BACKEND_PORT, API_SEND_EMAIL, json_buffer, &response)) {
        return false;
    }

    return response.success;
}
/* USER CODE END 0 */

int main(void)
{

  /* MCU Configuration--------------------------------------------------------*/

  /* Reset of all peripherals, Initializes the Flash interface and the Systick. */
  HAL_Init();

  /* Configure the system clock */
  SystemClock_Config();

  /* Initialize all configured peripherals */
  MX_GPIO_Init();
  MX_DMA_Init();
  MX_USART1_UART_Init();   // ← R307 UART
  MX_USART2_UART_Init();   // ← ESP3
  MX_RNG_Init();
  MX_USART1_UART_Init();
  /* USER CODE BEGIN 2 */
    HAL_Delay(3000);  // Wait for ESP32 boot
    uint32_t stack_ptr = __get_MSP();

    Debug_Printf("\r\n=== MEMORY DEBUG ===\r\n");
    Debug_Printf("Stack Pointer: 0x%08X\r\n", stack_ptr);
    Debug_Printf("session addr:  0x%08X (size: %d)\r\n", (uint32_t)&session, sizeof(session));
    Debug_Printf("json_buffer:   0x%08X\r\n", (uint32_t)&json_buffer);
    Debug_Printf("Free RAM estimate: %d bytes\r\n\r\n", stack_ptr - (uint32_t)&json_buffer);

    Debug_Printf("\r\n\r\n");
    Debug_Printf("╔══════════════════════════════════════════════════════╗\r\n");
    Debug_Printf("║  BLOCKCHAIN E-VOTING TERMINAL v3.0                  ║\r\n");
    Debug_Printf("║  Production Ready - Backend Integrated               ║\r\n");
    Debug_Printf("╚══════════════════════════════════════════════════════╝\r\n\r\n");

    // Initialize ESP32
    Debug_Printf("📡 Initializing ESP32...\r\n");
    if (!ESP32_Init(&esp32, &huart2)) {
        Debug_Printf("❌ ESP32 init failed!\r\n");
        while(1) HAL_Delay(1000);
    }
    Debug_Printf("✅ ESP32 OK!\r\n\r\n");

    // Initialize LCD
    Debug_Printf("🖥️ Initializing LCD...\r\n");
    HAL_UART_Transmit(&huart2, (uint8_t*)"LCD_INIT\n", 9, 100);
    HAL_Delay(500);
    Debug_Printf("✅ LCD Ready!\r\n\r\n");

    // Initialize Keypad
    Debug_Printf("⌨️ Initializing Keypad...\r\n");
    Keypad_Init();
    Debug_Printf("✅ Keypad Ready!\r\n\r\n");

    // Initialize R307
    Debug_Printf("🔍 Initializing R307 Fingerprint...\r\n");
    if (!R307_Init(&fingerprint, &huart1)) {
        Debug_Printf("⚠️ R307 not detected\r\n\r\n");
    } else {
        Debug_Printf("✅ R307 Ready!\r\n\r\n");
    }

    // Connect WiFi
    Debug_Printf("📶 Connecting to WiFi: %s\r\n", WIFI_SSID);
    LCD_Clear();
    LCD_SetCursor(0, 0);
    LCD_Print("Connecting WiFi");

    if (!ESP32_ConnectWiFi(&esp32, WIFI_SSID, WIFI_PASSWORD)) {
        Debug_Printf("❌ WiFi connection failed!\r\n");
        Show_Error("WiFi Failed!");
        while(1) HAL_Delay(1000);
    }

    Debug_Printf("✅ WiFi connected!\r\n");
    char ip[16];
    if (ESP32_GetIP(&esp32, ip)) {
        Debug_Printf("🌐 IP Address: %s\r\n\r\n", ip);
    }

    Show_Success("System Ready!");

    // Initialize voting session
    Reset_Session();

  /* USER CODE END 2 */

  /* Infinite loop */
  /* USER CODE BEGIN WHILE */
    while (1)
    {
		switch (session.state) {
				case STATE_SELECT_ELECTION:
					State_SelectElection();
					Debug_Printf("Checking Transition...\r\n");
					break;

				case STATE_ENTER_AADHAAR:
					State_EnterAadhaar();  // ← Just this, no debug, no delays!
					break;

				case STATE_ENTER_VOTER_ID:
					State_EnterVoterID();
					break;

				case STATE_SCAN_FINGERPRINT:
					State_ScanFingerprint();
					break;

				case STATE_VERIFY_IDENTITY:
					State_VerifyIdentity();
					break;

				case STATE_SEND_OTP:
					State_SendOTP();
					break;

				case STATE_ENTER_OTP:
					State_EnterOTP();
					break;

				case STATE_VERIFY_OTP:
					State_VerifyOTP();
					break;

				case STATE_SELECT_CANDIDATE:
					State_SelectCandidate();
					break;

				case STATE_CONFIRM_VOTE:
					State_ConfirmVote();
					break;

				case STATE_CAST_VOTE:
					State_CastVote();
					break;

				case STATE_WAIT_RECEIPT:
					State_WaitReceipt();
					break;

				case STATE_SHOW_RECEIPT:
					State_ShowReceipt();
					break;

				case STATE_COMPLETE:
					Reset_Session();
					break;

				default:
					Reset_Session();
					break;
			}

    /* USER CODE END WHILE */

  }
}

void SystemClock_Config(void)
{
  RCC_OscInitTypeDef RCC_OscInitStruct = {0};
  RCC_ClkInitTypeDef RCC_ClkInitStruct = {0};

  /** Configure the main internal regulator output voltage
  */
  if (HAL_PWREx_ControlVoltageScaling(PWR_REGULATOR_VOLTAGE_SCALE1) != HAL_OK)
  {
    Error_Handler();
  }

  /** Configure LSE Drive Capability
  */
  HAL_PWR_EnableBkUpAccess();
  __HAL_RCC_LSEDRIVE_CONFIG(RCC_LSEDRIVE_LOW);

  /** Initializes the RCC Oscillators according to the specified parameters
  * in the RCC_OscInitTypeDef structure.
  */
  RCC_OscInitStruct.OscillatorType = RCC_OSCILLATORTYPE_LSE|RCC_OSCILLATORTYPE_MSI;
  RCC_OscInitStruct.LSEState = RCC_LSE_ON;
  RCC_OscInitStruct.MSIState = RCC_MSI_ON;
  RCC_OscInitStruct.MSICalibrationValue = 0;
  RCC_OscInitStruct.MSIClockRange = RCC_MSIRANGE_6;
  RCC_OscInitStruct.PLL.PLLState = RCC_PLL_ON;
  RCC_OscInitStruct.PLL.PLLSource = RCC_PLLSOURCE_MSI;
  RCC_OscInitStruct.PLL.PLLM = 1;
  RCC_OscInitStruct.PLL.PLLN = 16;
  RCC_OscInitStruct.PLL.PLLP = RCC_PLLP_DIV7;
  RCC_OscInitStruct.PLL.PLLQ = RCC_PLLQ_DIV2;
  RCC_OscInitStruct.PLL.PLLR = RCC_PLLR_DIV2;
  if (HAL_RCC_OscConfig(&RCC_OscInitStruct) != HAL_OK)
  {
    Error_Handler();
  }

  /** Initializes the CPU, AHB and APB buses clocks
  */
  RCC_ClkInitStruct.ClockType = RCC_CLOCKTYPE_HCLK|RCC_CLOCKTYPE_SYSCLK
                              |RCC_CLOCKTYPE_PCLK1|RCC_CLOCKTYPE_PCLK2;
  RCC_ClkInitStruct.SYSCLKSource = RCC_SYSCLKSOURCE_PLLCLK;
  RCC_ClkInitStruct.AHBCLKDivider = RCC_SYSCLK_DIV1;
  RCC_ClkInitStruct.APB1CLKDivider = RCC_HCLK_DIV1;
  RCC_ClkInitStruct.APB2CLKDivider = RCC_HCLK_DIV1;

  if (HAL_RCC_ClockConfig(&RCC_ClkInitStruct, FLASH_LATENCY_1) != HAL_OK)
  {
    Error_Handler();
  }

  /** Enable MSI Auto calibration
  */
  HAL_RCCEx_EnableMSIPLLMode();
}

static void MX_RNG_Init(void)
{

  hrng.Instance = RNG;
  if (HAL_RNG_Init(&hrng) != HAL_OK)
  {
    Error_Handler();
  }

}

static void MX_USART1_UART_Init(void)
{

  huart1.Instance = USART1;
  huart1.Init.BaudRate = 57600;
  huart1.Init.WordLength = UART_WORDLENGTH_8B;
  huart1.Init.StopBits = UART_STOPBITS_1;
  huart1.Init.Parity = UART_PARITY_NONE;
  huart1.Init.Mode = UART_MODE_TX_RX;
  huart1.Init.HwFlowCtl = UART_HWCONTROL_NONE;
  huart1.Init.OverSampling = UART_OVERSAMPLING_16;
  huart1.Init.OneBitSampling = UART_ONE_BIT_SAMPLE_DISABLE;
  huart1.AdvancedInit.AdvFeatureInit = UART_ADVFEATURE_NO_INIT;
  if (HAL_UART_Init(&huart1) != HAL_OK)
  {
    Error_Handler();
  }

}

static void MX_USART2_UART_Init(void)
{

  huart2.Instance = USART2;
  huart2.Init.BaudRate = 115200;
  huart2.Init.WordLength = UART_WORDLENGTH_8B;
  huart2.Init.StopBits = UART_STOPBITS_1;
  huart2.Init.Parity = UART_PARITY_NONE;
  huart2.Init.Mode = UART_MODE_TX_RX;
  huart2.Init.HwFlowCtl = UART_HWCONTROL_NONE;
  huart2.Init.OverSampling = UART_OVERSAMPLING_16;
  huart2.Init.OneBitSampling = UART_ONE_BIT_SAMPLE_DISABLE;
  huart2.AdvancedInit.AdvFeatureInit = UART_ADVFEATURE_NO_INIT;
  if (HAL_UART_Init(&huart2) != HAL_OK)
  {
    Error_Handler();
  }

}

static void MX_DMA_Init(void)
{

  /* DMA controller clock enable */
  __HAL_RCC_DMA1_CLK_ENABLE();

  /* DMA interrupt init */
  /* DMA1_Channel4_IRQn interrupt configuration */
  HAL_NVIC_SetPriority(DMA1_Channel4_IRQn, 0, 0);
  HAL_NVIC_EnableIRQ(DMA1_Channel4_IRQn);
  /* DMA1_Channel5_IRQn interrupt configuration */
  HAL_NVIC_SetPriority(DMA1_Channel5_IRQn, 0, 0);
  HAL_NVIC_EnableIRQ(DMA1_Channel5_IRQn);
  /* DMA1_Channel6_IRQn interrupt configuration */
  HAL_NVIC_SetPriority(DMA1_Channel6_IRQn, 0, 0);
  HAL_NVIC_EnableIRQ(DMA1_Channel6_IRQn);

}

static void MX_GPIO_Init(void)
{
  GPIO_InitTypeDef GPIO_InitStruct = {0};

  /* GPIO Ports Clock Enable */
  __HAL_RCC_GPIOC_CLK_ENABLE();
  __HAL_RCC_GPIOA_CLK_ENABLE();
  __HAL_RCC_GPIOB_CLK_ENABLE();

  /*Configure GPIO pin Output Level */
  HAL_GPIO_WritePin(GPIOA, GPIO_PIN_0|GPIO_PIN_1|GPIO_PIN_4|GPIO_PIN_5, GPIO_PIN_RESET);

  /*Configure GPIO pin Output Level */
  HAL_GPIO_WritePin(GPIOB, GPIO_PIN_0|GPIO_PIN_1|GPIO_PIN_3|GPIO_PIN_4, GPIO_PIN_RESET);

  /*Configure GPIO pins : PA0 PA1 PA4 PA5 */
  GPIO_InitStruct.Pin = GPIO_PIN_0|GPIO_PIN_1|GPIO_PIN_4|GPIO_PIN_5;
  GPIO_InitStruct.Mode = GPIO_MODE_OUTPUT_PP;
  GPIO_InitStruct.Pull = GPIO_NOPULL;
  GPIO_InitStruct.Speed = GPIO_SPEED_FREQ_LOW;
  HAL_GPIO_Init(GPIOA, &GPIO_InitStruct);

  /*Configure GPIO pins : PB0 PB1 PB3 PB4 */
  GPIO_InitStruct.Pin = GPIO_PIN_0|GPIO_PIN_1|GPIO_PIN_3|GPIO_PIN_4;
  GPIO_InitStruct.Mode = GPIO_MODE_OUTPUT_PP;
  GPIO_InitStruct.Pull = GPIO_NOPULL;
  GPIO_InitStruct.Speed = GPIO_SPEED_FREQ_LOW;
  HAL_GPIO_Init(GPIOB, &GPIO_InitStruct);

  /*Configure GPIO pins : PA8 PA11 PA12 */
  GPIO_InitStruct.Pin = GPIO_PIN_8|GPIO_PIN_11|GPIO_PIN_12;
  GPIO_InitStruct.Mode = GPIO_MODE_INPUT;
  GPIO_InitStruct.Pull = GPIO_PULLUP;
  HAL_GPIO_Init(GPIOA, &GPIO_InitStruct);

}

void Error_Handler(void)
{
  __disable_irq();
  while (1)
  {
  }
}
